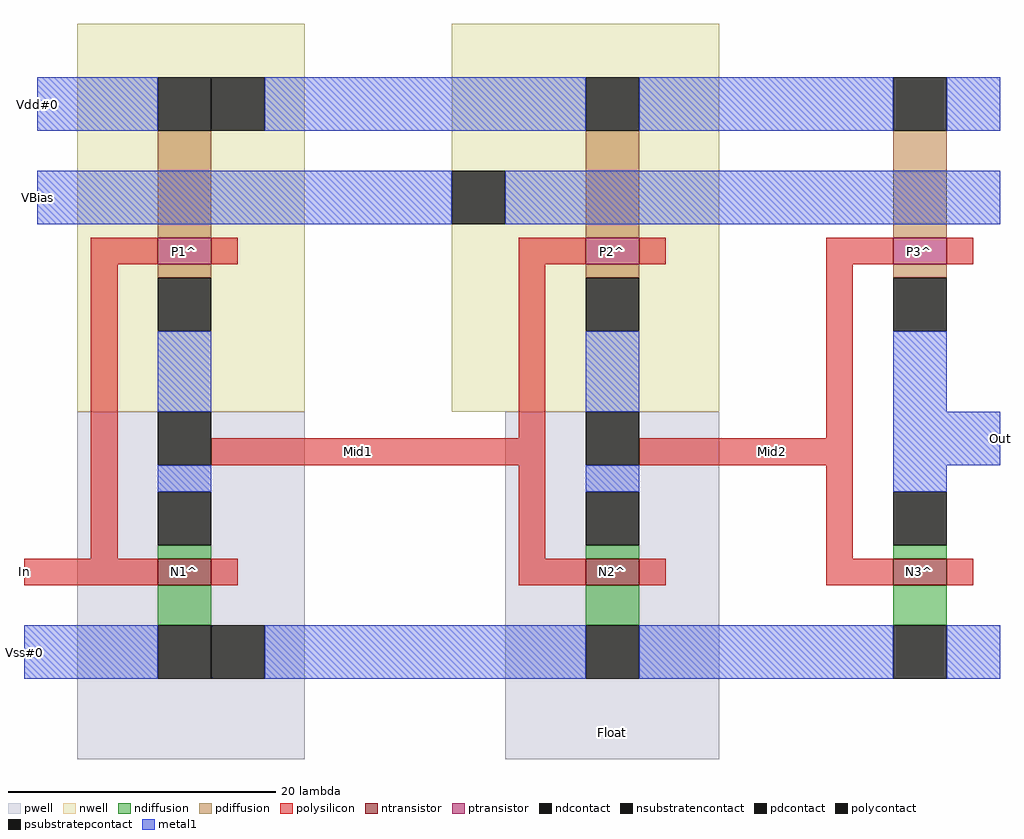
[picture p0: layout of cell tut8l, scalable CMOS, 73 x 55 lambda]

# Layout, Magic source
magic
tech scmos
<< polysilicon >>
rect -1 25 4 27
rect 8 25 10 27
rect 31 25 36 27
rect 40 25 42 27
rect 54 25 59 27
rect 63 25 65 27
rect -1 3 1 25
rect 31 12 33 25
rect 8 10 33 12
rect 54 12 56 25
rect 40 10 56 12
rect 31 3 33 10
rect 54 3 56 10
rect -6 1 4 3
rect 8 1 10 3
rect 31 1 36 3
rect 40 1 42 3
rect 54 1 59 3
rect 63 1 65 3
<< ndiffusion >>
rect 4 3 8 4
rect 36 3 40 4
rect 59 3 63 4
rect 4 -2 8 1
rect 36 -2 40 1
rect 59 -2 63 1
<< pdiffusion >>
rect 4 27 8 35
rect 36 27 40 35
rect 59 27 63 35
rect 4 24 8 25
rect 36 24 40 25
rect 59 24 63 25
<< metal1 >>
rect -5 35 4 39
rect 12 35 36 39
rect 40 35 59 39
rect 63 35 67 39
rect -5 28 26 32
rect 30 28 67 32
rect 4 14 8 20
rect 4 8 8 10
rect 36 14 40 20
rect 36 8 40 10
rect 59 14 63 20
rect 59 10 67 14
rect 59 8 63 10
rect -6 -6 4 -2
rect 12 -6 36 -2
rect 40 -6 59 -2
rect 63 -6 67 -2
<< pwell >>
rect -2 -12 15 14
rect 30 -12 46 14
<< nwell >>
rect -2 14 15 43
rect 26 14 46 43
<< polycontact >>
rect 4 10 8 14
rect 36 10 40 14
<< ndcontact >>
rect 4 4 8 8
rect 36 4 40 8
rect 59 4 63 8
rect 4 -6 8 -2
rect 36 -6 40 -2
rect 59 -6 63 -2
<< pdcontact >>
rect 4 35 8 39
rect 36 35 40 39
rect 59 35 63 39
rect 4 20 8 24
rect 36 20 40 24
rect 59 20 63 24
<< ntransistor >>
rect 4 1 8 3
rect 36 1 40 3
rect 59 1 63 3
<< ptransistor >>
rect 4 25 8 27
rect 36 25 40 27
rect 59 25 63 27
<< psubstratepcontact >>
rect 8 -6 12 -2
<< nsubstratencontact >>
rect 8 35 12 39
rect 26 28 30 32
<< labels >>
rlabel polysilicon -6 1 -6 3 7 In
rlabel pwell 38 -10 38 -10 1 Float
rlabel metal1 -5 28 -5 32 7 VBias
rlabel metal1 67 10 67 14 3 Out
rlabel polysilicon 19 11 19 11 1 Mid1
rlabel polysilicon 50 11 50 11 1 Mid2
rlabel metal1 -5 35 -5 39 7 Vdd#0
rlabel metal1 -6 -6 -6 -2 7 Vss#0
rlabel ntransistor 6 2 6 2 7 N1^
rlabel ntransistor 38 2 38 2 7 N2^
rlabel ntransistor 61 2 61 2 7 N3^
rlabel ptransistor 6 26 6 26 7 P1^
rlabel ptransistor 38 26 38 26 7 P2^
rlabel ptransistor 61 26 61 26 7 P3^
<< end >>
